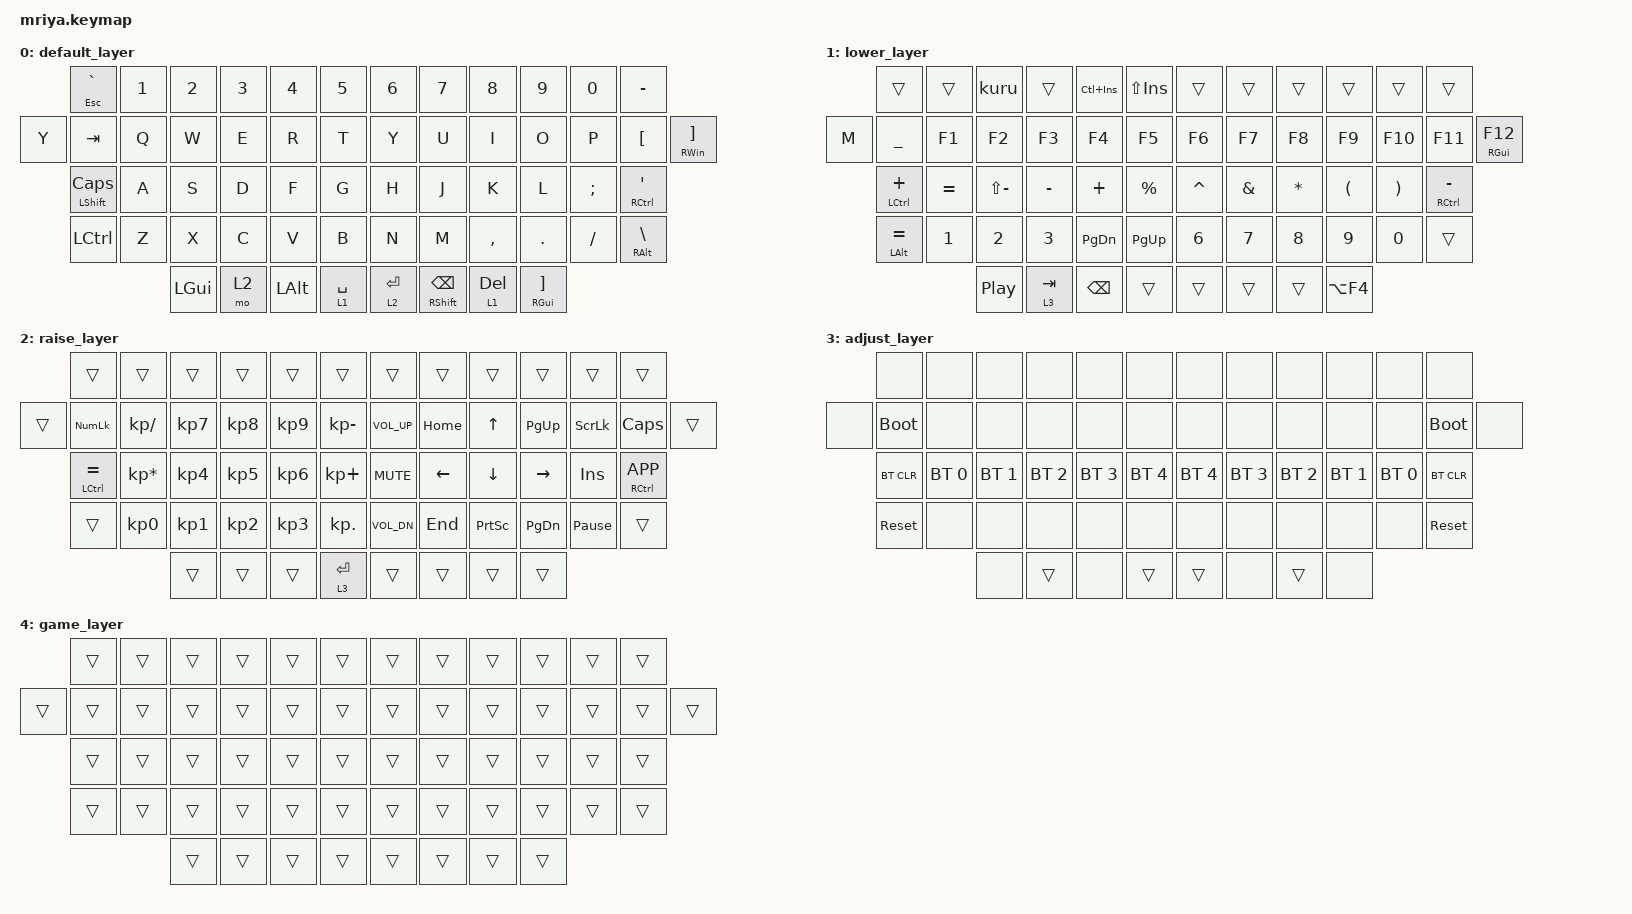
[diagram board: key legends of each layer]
/*
 * Copyright (c) 2023 Andrei Gaevskii
 *
 * SPDX-License-Identifier: MIT
 */

#include <behaviors.dtsi>
#include <dt-bindings/zmk/bt.h>
#include <dt-bindings/zmk/keys.h>

#define DEF 0
#define LWR 1
#define RSE 2
#define ADJ 3

&lt { quick_tap_ms = <200>; };

&mt { quick_tap_ms = <170>; };

/ {
    macros {
        kuru: kuru {
            compatible = "zmk,behavior-macro";
            #binding-cells = <0>;
            bindings =
                <&kp F3>,
                <&macro_wait_time 20>,
                <&kp W>,
                <&macro_wait_time 20>,
                <&kp F1>;

            label = "KURU";
        };
    };

    behaviors {
        td1: td1 {
            compatible = "zmk,behavior-tap-dance";
            label = "TD1";
            #binding-cells = <0>;
            bindings = <&kp BACKSPACE>, <&kp RS(BACKSPACE)>, <&kp DELETE>;

            tapping-term-ms = <145>;
        };
    };

    keymap {
        compatible = "zmk,keymap";

        default_layer {
            bindings = <
       &mt ESCAPE GRAVE         &kp N1  &kp N2    &kp N3  &kp N4        &kp N5         &kp N6       &kp N7          &kp N8     &kp N9                  &kp N0    &kp MINUS
&kp Y  &kp TAB                  &kp Q   &kp W     &kp E   &kp R         &kp T          &kp Y        &kp U           &kp I      &kp O                   &kp P     &kp LBKT       &mt RWIN RBKT
       &mt LEFT_SHIFT CAPSLOCK  &kp A   &kp S     &kp D   &kp F         &kp G          &kp H        &kp J           &kp K      &kp L                   &kp SEMI  &mt RCTRL SQT
       &kp LEFT_CONTROL         &kp Z   &kp X     &kp C   &kp V         &kp B          &kp N        &kp M           &kp COMMA  &kp DOT                 &kp FSLH  &mt RALT BSLH
                                        &kp LGUI  &mo 2   &kp LEFT_ALT  &lt 1 SPACE    &lt 2 ENTER  &mt RSHFT BSPC  &lt 1 DEL  &mt RGUI RIGHT_BRACKET
            >;
        };

        lower_layer {
            bindings = <
       &trans          &trans     &kuru             &trans     &kp LC(INSERT)  &kp LS(INSERT)    &trans     &trans    &trans    &trans      &trans    &trans
&kp M  &kp UNDER       &kp F1     &kp F2            &kp F3     &kp F4          &kp F5            &kp F6     &kp F7    &kp F8    &kp F9      &kp F10   &kp F11          &mt RGUI F12
       &mt LCTRL PLUS  &kp EQUAL  &kp LS(MINUS)     &kp MINUS  &kp PLUS        &kp PRCNT         &kp CARET  &kp AMPS  &kp STAR  &kp LPAR    &kp RPAR  &mt RCTRL MINUS
       &mt LALT EQUAL  &kp N1     &kp N2            &kp N3     &kp PAGE_DOWN   &kp PAGE_UP       &kp N6     &kp N7    &kp N8    &kp N9      &kp N0    &trans
                                  &kp C_PLAY_PAUSE  &lt 3 TAB  &kp BACKSPACE   &trans            &trans     &trans    &trans    &kp LA(F4)
            >;
        };

        raise_layer {
            bindings = <
        &trans           &trans           &trans     &trans     &trans     &trans          &trans        &trans    &trans           &trans     &trans           &trans
&trans  &kp KP_NUM       &kp KP_SLASH     &kp KP_N7  &kp KP_N8  &kp KP_N9  &kp KP_MINUS    &kp C_VOL_UP  &kp HOME  &kp UP           &kp PG_UP  &kp SLCK         &kp CAPS         &trans
        &mt LCTRL EQUAL  &kp KP_MULTIPLY  &kp KP_N4  &kp KP_N5  &kp KP_N6  &kp KP_PLUS     &kp C_MUTE    &kp LEFT  &kp DOWN_ARROW   &kp RIGHT  &kp INS          &mt RCTRL K_APP
        &trans           &kp KP_N0        &kp KP_N1  &kp KP_N2  &kp KP_N3  &kp KP_DOT      &kp C_VOL_DN  &kp END   &kp PRINTSCREEN  &kp PG_DN  &kp PAUSE_BREAK  &trans
                                          &trans     &trans     &trans     &lt 3 RET       &trans        &trans    &trans           &trans
            >;
        };

        adjust_layer {
            bindings = <
       &none        &none         &none         &none         &none         &none           &none         &none         &none         &none         &none         &none
&none  &bootloader  &none         &none         &none         &none         &none           &none         &none         &none         &none         &none         &bootloader  &none
       &bt BT_CLR   &bt BT_SEL 0  &bt BT_SEL 1  &bt BT_SEL 2  &bt BT_SEL 3  &bt BT_SEL 4    &bt BT_SEL 4  &bt BT_SEL 3  &bt BT_SEL 2  &bt BT_SEL 1  &bt BT_SEL 0  &bt BT_CLR
       &sys_reset   &none         &none         &none         &none         &none           &none         &none         &none         &none         &none         &sys_reset
                                  &none         &trans        &none         &trans          &trans        &none         &trans        &none
            >;
        };

        game_layer {
            bindings = <
        &trans  &trans  &trans  &trans  &trans  &trans    &trans  &trans  &trans  &trans  &trans  &trans
&trans  &trans  &trans  &trans  &trans  &trans  &trans    &trans  &trans  &trans  &trans  &trans  &trans  &trans
        &trans  &trans  &trans  &trans  &trans  &trans    &trans  &trans  &trans  &trans  &trans  &trans
        &trans  &trans  &trans  &trans  &trans  &trans    &trans  &trans  &trans  &trans  &trans  &trans
                        &trans  &trans  &trans  &trans    &trans  &trans  &trans  &trans
            >;
        };
    };
};
